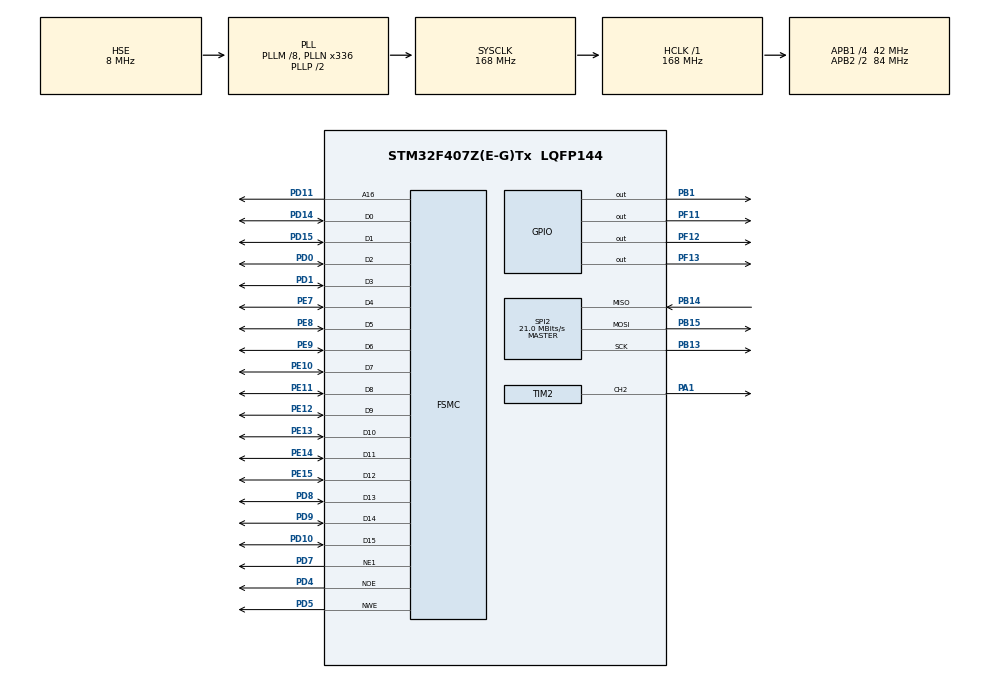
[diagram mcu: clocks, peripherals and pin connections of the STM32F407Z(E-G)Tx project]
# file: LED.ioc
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FSMC.AddressSetupTime1=2
FSMC.BusTurnAroundDuration1=0
FSMC.DataSetupTime1=1
Mcu.Family=STM32F4
Mcu.Name=STM32F407Z(E-G)Tx
Mcu.Package=LQFP144
NVIC.PriorityGroup=NVIC_PRIORITYGROUP_4
NVIC.TIM7_IRQn=true\:7\:0\:true\:true\:true\:1\:true\:true\:true
PA1.Signal=S_TIM2_CH2
PA13.Mode=Serial_Wire
PA13.Signal=SYS_JTMS-SWDIO
PA14.Mode=Serial_Wire
PA14.Signal=SYS_JTCK-SWCLK
PB1.GPIO_Speed=GPIO_SPEED_FREQ_HIGH
PB1.PinState=GPIO_PIN_RESET
PB1.Signal=GPIO_Output
PB13.Mode=Full_Duplex_Master
PB13.Signal=SPI2_SCK
PB14.Mode=Full_Duplex_Master
PB14.Signal=SPI2_MISO
PB15.Mode=Full_Duplex_Master
PB15.Signal=SPI2_MOSI
PD0.Signal=FSMC_D2_DA2
PD1.Signal=FSMC_D3_DA3
PD10.Signal=FSMC_D15_DA15
PD11.Signal=FSMC_A16_CLE
PD14.Signal=FSMC_D0_DA0
PD15.Signal=FSMC_D1_DA1
PD4.Signal=FSMC_NOE
PD5.Signal=FSMC_NWE
PD7.Mode=NorPsramChipSelect1_1
PD7.Signal=FSMC_NE1
PD8.Signal=FSMC_D13_DA13
PD9.Signal=FSMC_D14_DA14
PE10.Signal=FSMC_D7_DA7
PE11.Signal=FSMC_D8_DA8
PE12.Signal=FSMC_D9_DA9
PE13.Signal=FSMC_D10_DA10
PE14.Signal=FSMC_D11_DA11
PE15.Signal=FSMC_D12_DA12
PE7.Signal=FSMC_D4_DA4
PE8.Signal=FSMC_D5_DA5
PE9.Signal=FSMC_D6_DA6
PF11.GPIO_Speed=GPIO_SPEED_FREQ_HIGH
PF11.PinState=GPIO_PIN_RESET
PF11.Signal=GPIO_Output
PF12.GPIO_Speed=GPIO_SPEED_FREQ_HIGH
PF12.PinState=GPIO_PIN_RESET
PF12.Signal=GPIO_Output
PF13.GPIO_Speed=GPIO_SPEED_FREQ_HIGH
PF13.PinState=GPIO_PIN_RESET
PF13.Signal=GPIO_Output
PH0-OSC_IN.Mode=HSE-External-Oscillator
PH0-OSC_IN.Signal=RCC_OSC_IN
PH1-OSC_OUT.Mode=HSE-External-Oscillator
PH1-OSC_OUT.Signal=RCC_OSC_OUT
ProjectManager.HeapSize=0x200
ProjectManager.StackSize=0x4000
ProjectManager.TargetToolchain=MDK-ARM V5.32
RCC.48MHZClocksFreq_Value=84000000
RCC.AHBFreq_Value=168000000
RCC.APB1CLKDivider=RCC_HCLK_DIV4
RCC.APB1Freq_Value=42000000
RCC.APB1TimFreq_Value=84000000
RCC.APB2CLKDivider=RCC_HCLK_DIV2
RCC.APB2Freq_Value=84000000
RCC.APB2TimFreq_Value=168000000
RCC.CortexFreq_Value=168000000
RCC.HCLKFreq_Value=168000000
RCC.HSE_VALUE=8000000
RCC.HSI_VALUE=16000000
RCC.LSE_VALUE=32768
RCC.PLLM=8
RCC.PLLN=336
RCC.PLLSourceVirtual=RCC_PLLSOURCE_HSE
RCC.SYSCLKFreq_VALUE=168000000
RCC.SYSCLKSource=RCC_SYSCLKSOURCE_PLLCLK
RCC.VCOOutputFreq_Value=336000000
SH.FSMC_A16_CLE.0=FSMC_A16,A16_1
SH.FSMC_D0_DA0.0=FSMC_D0,16b-d1
SH.FSMC_D10_DA10.0=FSMC_D10,16b-d1
SH.FSMC_D11_DA11.0=FSMC_D11,16b-d1
SH.FSMC_D12_DA12.0=FSMC_D12,16b-d1
SH.FSMC_D13_DA13.0=FSMC_D13,16b-d1
SH.FSMC_D14_DA14.0=FSMC_D14,16b-d1
SH.FSMC_D15_DA15.0=FSMC_D15,16b-d1
SH.FSMC_D1_DA1.0=FSMC_D1,16b-d1
SH.FSMC_D2_DA2.0=FSMC_D2,16b-d1
SH.FSMC_D3_DA3.0=FSMC_D3,16b-d1
SH.FSMC_D4_DA4.0=FSMC_D4,16b-d1
SH.FSMC_D5_DA5.0=FSMC_D5,16b-d1
SH.FSMC_D6_DA6.0=FSMC_D6,16b-d1
SH.FSMC_D7_DA7.0=FSMC_D7,16b-d1
SH.FSMC_D8_DA8.0=FSMC_D8,16b-d1
SH.FSMC_D9_DA9.0=FSMC_D9,16b-d1
SH.FSMC_NOE.0=FSMC_NOE,Lcd1
SH.FSMC_NWE.0=FSMC_NWE,Lcd1
SH.S_TIM2_CH2.0=TIM2_CH2,PWM Generation2 CH2
SPI2.CLKPhase=SPI_PHASE_2EDGE
SPI2.CLKPolarity=SPI_POLARITY_HIGH
SPI2.CalculateBaudRate=21.0 MBits/s
SPI2.Direction=SPI_DIRECTION_2LINES
SPI2.Mode=SPI_MODE_MASTER
SPI2.VirtualType=VM_MASTER
TIM2.Channel-PWM\ Generation2\ CH2=TIM_CHANNEL_2
TIM2.Period=999
TIM2.Prescaler=83
TIM7.Period=9999
TIM7.Prescaler=41
VP_TIM2_VS_ClockSourceINT.Mode=Internal
VP_TIM7_VS_ClockSourceINT.Mode=Enable_Timer
board=custom

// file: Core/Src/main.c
/* USER CODE BEGIN Header */
/**
  ******************************************************************************
  * @file           : main.c
  * @brief          : Main program body
  ******************************************************************************
  * @attention
  *
  * Copyright (c) 2026 STMicroelectronics.
  * All rights reserved.
  *
  * This software is licensed under terms that can be found in the LICENSE file
  * in the root directory of this software component.
  * If no LICENSE file comes with this software, it is provided AS-IS.
  *
  ******************************************************************************
  */
/* USER CODE END Header */
#include "main.h"
#include "spi.h"
#include "tim.h"
#include "gpio.h"
#include "fsmc.h"

/* USER CODE BEGIN Includes */
#include "led.h"
#include "tftDisp.h"
#include "zg.h"
#include "timeAPP.h"
#include "key.h"
/* USER CODE END Includes */

/* USER CODE BEGIN PD */
#define NAME_X             700U
#define NAME_Y              20U
#define STUDENT_ID_X       700U
#define STUDENT_ID_Y        50U
#define BINARY_X           750U
#define BINARY_Y            80U
#define CIRCLE_X           800U
#define CIRCLE_Y0          150U
#define CIRCLE_RADIUS       25U
#define CIRCLE_SPACING      65U
#define PHOTO_X            300U
#define PHOTO_Y            100U
#define DISPLAY_DELAY_MS  1000U
/* USER CODE END PD */

/* USER CODE BEGIN PV */
static const uint8_t led_sequence[] =
{

  0x01U, 0x02U, 0x04U, 0x08U, 0x04U, 0x02U, 0x01U,
  0x03U, 0x07U, 0x0FU, 0x0EU, 0x0CU, 0x08U
};
/* USER CODE END PV */

void SystemClock_Config(void);
static void MX_NVIC_Init(void);
/* USER CODE BEGIN PFP */
static void LED_ShowCode(uint8_t code);
static void LCD_ShowCode(uint8_t code);
static void Show_Code(uint8_t code);
/* USER CODE END PFP */

int main(void)
{

  /* USER CODE BEGIN 1 */
  uint32_t sequence_index = 0U;
  /* USER CODE END 1 */

  /* MCU Configuration--------------------------------------------------------*/

  /* Reset of all peripherals, Initializes the Flash interface and the Systick. */
  HAL_Init();

  /* Configure the system clock */
  SystemClock_Config();

  /* Initialize all configured peripherals */
  MX_GPIO_Init();
  MX_FSMC_Init();
  MX_SPI2_Init();
  MX_TIM7_Init();
  MX_TIM2_Init();

  /* Initialize interrupts */
  MX_NVIC_Init();
  /* USER CODE BEGIN 2 */
  LED_GPIO_Init();
  W25Q64_CS_GPIO_Init();
  LCD_Initialize();

  Lcd_Clear_All(BLUE_4_4);

  /*Gui_Draw_Asc24_Hzk24(NAME_X, NAME_Y, WHITE_4_4, BLUE_4_4,"������");
  Gui_Draw_Asc24_Hzk24(STUDENT_ID_X, STUDENT_ID_Y, WHITE_4_4, BLUE_4_4,
                       (uint8_t *)"24121980");
  LCD_Draw_Picture(PHOTO_X, PHOTO_Y, gImage_zg);

  Show_Code(0x00U); */

  HAL_TIM_Base_Start_IT(&htim7);
  HAL_TIM_PWM_Start(&htim2,TIM_CHANNEL_2);//TIM2计数并且比较产生脉冲信号
  /* USER CODE END 2 */

  /* Infinite loop */
  /* USER CODE BEGIN WHILE */
  while (1)
  {
    /*for (sequence_index = 0U;
         sequence_index < (sizeof(led_sequence) / sizeof(led_sequence[0]));
         sequence_index++)
    {
      Show_Code(led_sequence[sequence_index]);
      HAL_Delay(DISPLAY_DELAY_MS);
    } */

    /* USER CODE END WHILE */

  }
}

void SystemClock_Config(void)
{
  RCC_OscInitTypeDef RCC_OscInitStruct = {0};
  RCC_ClkInitTypeDef RCC_ClkInitStruct = {0};

  /** Configure the main internal regulator output voltage
  */
  __HAL_RCC_PWR_CLK_ENABLE();
  __HAL_PWR_VOLTAGESCALING_CONFIG(PWR_REGULATOR_VOLTAGE_SCALE1);

  /** Initializes the RCC Oscillators according to the specified parameters
  * in the RCC_OscInitTypeDef structure.
  */
  RCC_OscInitStruct.OscillatorType = RCC_OSCILLATORTYPE_HSE;
  RCC_OscInitStruct.HSEState = RCC_HSE_ON;
  RCC_OscInitStruct.PLL.PLLState = RCC_PLL_ON;
  RCC_OscInitStruct.PLL.PLLSource = RCC_PLLSOURCE_HSE;
  RCC_OscInitStruct.PLL.PLLM = 8;
  RCC_OscInitStruct.PLL.PLLN = 336;
  RCC_OscInitStruct.PLL.PLLP = RCC_PLLP_DIV2;
  RCC_OscInitStruct.PLL.PLLQ = 4;
  if (HAL_RCC_OscConfig(&RCC_OscInitStruct) != HAL_OK)
  {
    Error_Handler();
  }

  /** Initializes the CPU, AHB and APB buses clocks
  */
  RCC_ClkInitStruct.ClockType = RCC_CLOCKTYPE_HCLK|RCC_CLOCKTYPE_SYSCLK
                              |RCC_CLOCKTYPE_PCLK1|RCC_CLOCKTYPE_PCLK2;
  RCC_ClkInitStruct.SYSCLKSource = RCC_SYSCLKSOURCE_PLLCLK;
  RCC_ClkInitStruct.AHBCLKDivider = RCC_SYSCLK_DIV1;
  RCC_ClkInitStruct.APB1CLKDivider = RCC_HCLK_DIV4;
  RCC_ClkInitStruct.APB2CLKDivider = RCC_HCLK_DIV2;

  if (HAL_RCC_ClockConfig(&RCC_ClkInitStruct, FLASH_LATENCY_5) != HAL_OK)
  {
    Error_Handler();
  }
}

/**
  * @brief NVIC Configuration.
  * @retval None
  */
static void MX_NVIC_Init(void)
{
  /* TIM7_IRQn interrupt configuration */
  HAL_NVIC_SetPriority(TIM7_IRQn, 7, 0);
  HAL_NVIC_EnableIRQ(TIM7_IRQn);
}

/* USER CODE BEGIN 4 */
static void LED_ShowCode(uint8_t code)
{
  uniBit8Byte led_code;

  led_code.abyte = code;

  if (led_code.bits8.b0 != 0U) { LED1_ON(); } else { LED1_OFF(); }
  if (led_code.bits8.b1 != 0U) { LED2_ON(); } else { LED2_OFF(); }
  if (led_code.bits8.b2 != 0U) { LED3_ON(); } else { LED3_OFF(); }
  if (led_code.bits8.b3 != 0U) { LED4_ON(); } else { LED4_OFF(); }
}

static void LCD_ShowCode(uint8_t code)
{
  uint8_t binary[5];
  uniBit8Byte led_code;

  led_code.abyte = code;

  binary[0] = led_code.bits8.b3 ? '1' : '0';
  binary[1] = led_code.bits8.b2 ? '1' : '0';
  binary[2] = led_code.bits8.b1 ? '1' : '0';
  binary[3] = led_code.bits8.b0 ? '1' : '0';
  binary[4] = '\0';

  Gui_Draw_Asc24_Hzk24(BINARY_X, BINARY_Y,
                       WHITE_4_4, BLUE_4_4, binary);

  Gui_Circle_Fill(CIRCLE_X, CIRCLE_Y0,
                  CIRCLE_RADIUS,
                  led_code.bits8.b0 ? RED_4_4 : WHITE_4_4);
  Gui_Circle_Fill(CIRCLE_X, CIRCLE_Y0 + CIRCLE_SPACING,
                  CIRCLE_RADIUS,
                  led_code.bits8.b1 ? RED_4_4 : WHITE_4_4);
  Gui_Circle_Fill(CIRCLE_X, CIRCLE_Y0 + 2U * CIRCLE_SPACING,
                  CIRCLE_RADIUS,
                  led_code.bits8.b2 ? RED_4_4 : WHITE_4_4);
  Gui_Circle_Fill(CIRCLE_X, CIRCLE_Y0 + 3U * CIRCLE_SPACING,
                  CIRCLE_RADIUS,
                  led_code.bits8.b3 ? RED_4_4 : WHITE_4_4);
}

static void Show_Code(uint8_t code)
{
  LED_ShowCode(code);
  LCD_ShowCode(code);
}
/* USER CODE END 4 */

void Error_Handler(void)
{
  __disable_irq();
  while (1)
  {
  }
}
